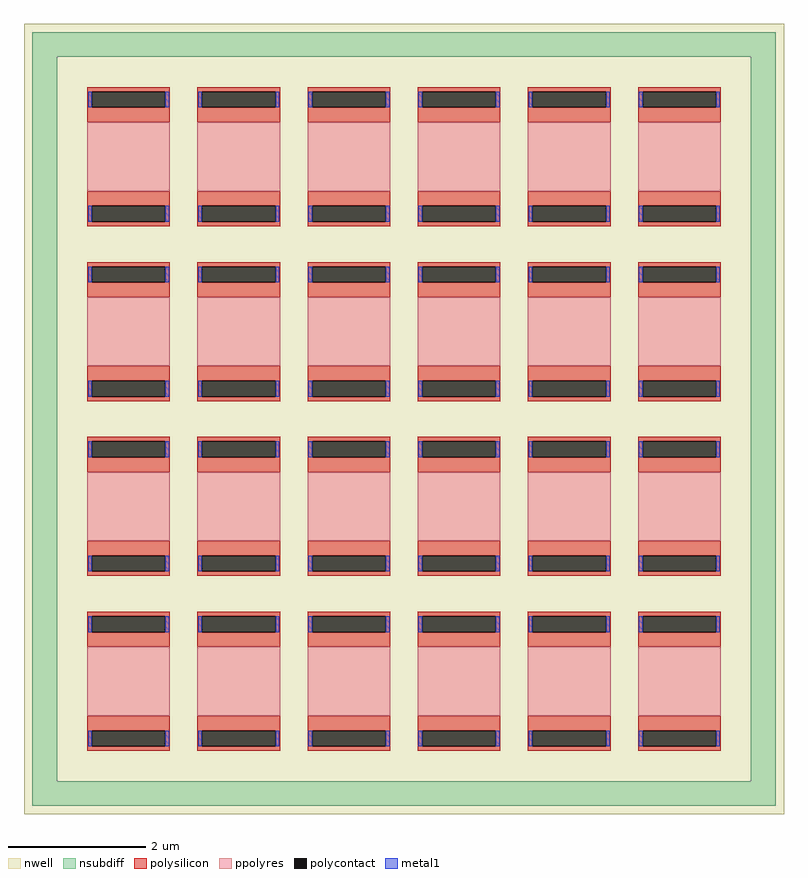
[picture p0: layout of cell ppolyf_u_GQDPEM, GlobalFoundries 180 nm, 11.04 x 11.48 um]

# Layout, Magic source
magic
tech gf180mcuC
magscale 1 10
<< nwell >>
rect -1104 -1148 1104 1148
<< nsubdiff >>
rect -1080 1052 1080 1124
rect -1080 -1052 -1008 1052
rect 1008 -1052 1080 1052
rect -1080 -1124 1080 -1052
<< polysilicon >>
rect -920 951 -680 964
rect -920 905 -907 951
rect -693 905 -680 951
rect -920 862 -680 905
rect -920 619 -680 662
rect -920 573 -907 619
rect -693 573 -680 619
rect -920 560 -680 573
rect -600 951 -360 964
rect -600 905 -587 951
rect -373 905 -360 951
rect -600 862 -360 905
rect -600 619 -360 662
rect -600 573 -587 619
rect -373 573 -360 619
rect -600 560 -360 573
rect -280 951 -40 964
rect -280 905 -267 951
rect -53 905 -40 951
rect -280 862 -40 905
rect -280 619 -40 662
rect -280 573 -267 619
rect -53 573 -40 619
rect -280 560 -40 573
rect 40 951 280 964
rect 40 905 53 951
rect 267 905 280 951
rect 40 862 280 905
rect 40 619 280 662
rect 40 573 53 619
rect 267 573 280 619
rect 40 560 280 573
rect 360 951 600 964
rect 360 905 373 951
rect 587 905 600 951
rect 360 862 600 905
rect 360 619 600 662
rect 360 573 373 619
rect 587 573 600 619
rect 360 560 600 573
rect 680 951 920 964
rect 680 905 693 951
rect 907 905 920 951
rect 680 862 920 905
rect 680 619 920 662
rect 680 573 693 619
rect 907 573 920 619
rect 680 560 920 573
rect -920 443 -680 456
rect -920 397 -907 443
rect -693 397 -680 443
rect -920 354 -680 397
rect -920 111 -680 154
rect -920 65 -907 111
rect -693 65 -680 111
rect -920 52 -680 65
rect -600 443 -360 456
rect -600 397 -587 443
rect -373 397 -360 443
rect -600 354 -360 397
rect -600 111 -360 154
rect -600 65 -587 111
rect -373 65 -360 111
rect -600 52 -360 65
rect -280 443 -40 456
rect -280 397 -267 443
rect -53 397 -40 443
rect -280 354 -40 397
rect -280 111 -40 154
rect -280 65 -267 111
rect -53 65 -40 111
rect -280 52 -40 65
rect 40 443 280 456
rect 40 397 53 443
rect 267 397 280 443
rect 40 354 280 397
rect 40 111 280 154
rect 40 65 53 111
rect 267 65 280 111
rect 40 52 280 65
rect 360 443 600 456
rect 360 397 373 443
rect 587 397 600 443
rect 360 354 600 397
rect 360 111 600 154
rect 360 65 373 111
rect 587 65 600 111
rect 360 52 600 65
rect 680 443 920 456
rect 680 397 693 443
rect 907 397 920 443
rect 680 354 920 397
rect 680 111 920 154
rect 680 65 693 111
rect 907 65 920 111
rect 680 52 920 65
rect -920 -65 -680 -52
rect -920 -111 -907 -65
rect -693 -111 -680 -65
rect -920 -154 -680 -111
rect -920 -397 -680 -354
rect -920 -443 -907 -397
rect -693 -443 -680 -397
rect -920 -456 -680 -443
rect -600 -65 -360 -52
rect -600 -111 -587 -65
rect -373 -111 -360 -65
rect -600 -154 -360 -111
rect -600 -397 -360 -354
rect -600 -443 -587 -397
rect -373 -443 -360 -397
rect -600 -456 -360 -443
rect -280 -65 -40 -52
rect -280 -111 -267 -65
rect -53 -111 -40 -65
rect -280 -154 -40 -111
rect -280 -397 -40 -354
rect -280 -443 -267 -397
rect -53 -443 -40 -397
rect -280 -456 -40 -443
rect 40 -65 280 -52
rect 40 -111 53 -65
rect 267 -111 280 -65
rect 40 -154 280 -111
rect 40 -397 280 -354
rect 40 -443 53 -397
rect 267 -443 280 -397
rect 40 -456 280 -443
rect 360 -65 600 -52
rect 360 -111 373 -65
rect 587 -111 600 -65
rect 360 -154 600 -111
rect 360 -397 600 -354
rect 360 -443 373 -397
rect 587 -443 600 -397
rect 360 -456 600 -443
rect 680 -65 920 -52
rect 680 -111 693 -65
rect 907 -111 920 -65
rect 680 -154 920 -111
rect 680 -397 920 -354
rect 680 -443 693 -397
rect 907 -443 920 -397
rect 680 -456 920 -443
rect -920 -573 -680 -560
rect -920 -619 -907 -573
rect -693 -619 -680 -573
rect -920 -662 -680 -619
rect -920 -905 -680 -862
rect -920 -951 -907 -905
rect -693 -951 -680 -905
rect -920 -964 -680 -951
rect -600 -573 -360 -560
rect -600 -619 -587 -573
rect -373 -619 -360 -573
rect -600 -662 -360 -619
rect -600 -905 -360 -862
rect -600 -951 -587 -905
rect -373 -951 -360 -905
rect -600 -964 -360 -951
rect -280 -573 -40 -560
rect -280 -619 -267 -573
rect -53 -619 -40 -573
rect -280 -662 -40 -619
rect -280 -905 -40 -862
rect -280 -951 -267 -905
rect -53 -951 -40 -905
rect -280 -964 -40 -951
rect 40 -573 280 -560
rect 40 -619 53 -573
rect 267 -619 280 -573
rect 40 -662 280 -619
rect 40 -905 280 -862
rect 40 -951 53 -905
rect 267 -951 280 -905
rect 40 -964 280 -951
rect 360 -573 600 -560
rect 360 -619 373 -573
rect 587 -619 600 -573
rect 360 -662 600 -619
rect 360 -905 600 -862
rect 360 -951 373 -905
rect 587 -951 600 -905
rect 360 -964 600 -951
rect 680 -573 920 -560
rect 680 -619 693 -573
rect 907 -619 920 -573
rect 680 -662 920 -619
rect 680 -905 920 -862
rect 680 -951 693 -905
rect 907 -951 920 -905
rect 680 -964 920 -951
<< polycontact >>
rect -907 905 -693 951
rect -907 573 -693 619
rect -587 905 -373 951
rect -587 573 -373 619
rect -267 905 -53 951
rect -267 573 -53 619
rect 53 905 267 951
rect 53 573 267 619
rect 373 905 587 951
rect 373 573 587 619
rect 693 905 907 951
rect 693 573 907 619
rect -907 397 -693 443
rect -907 65 -693 111
rect -587 397 -373 443
rect -587 65 -373 111
rect -267 397 -53 443
rect -267 65 -53 111
rect 53 397 267 443
rect 53 65 267 111
rect 373 397 587 443
rect 373 65 587 111
rect 693 397 907 443
rect 693 65 907 111
rect -907 -111 -693 -65
rect -907 -443 -693 -397
rect -587 -111 -373 -65
rect -587 -443 -373 -397
rect -267 -111 -53 -65
rect -267 -443 -53 -397
rect 53 -111 267 -65
rect 53 -443 267 -397
rect 373 -111 587 -65
rect 373 -443 587 -397
rect 693 -111 907 -65
rect 693 -443 907 -397
rect -907 -619 -693 -573
rect -907 -951 -693 -905
rect -587 -619 -373 -573
rect -587 -951 -373 -905
rect -267 -619 -53 -573
rect -267 -951 -53 -905
rect 53 -619 267 -573
rect 53 -951 267 -905
rect 373 -619 587 -573
rect 373 -951 587 -905
rect 693 -619 907 -573
rect 693 -951 907 -905
<< ppolyres >>
rect -920 662 -680 862
rect -600 662 -360 862
rect -280 662 -40 862
rect 40 662 280 862
rect 360 662 600 862
rect 680 662 920 862
rect -920 154 -680 354
rect -600 154 -360 354
rect -280 154 -40 354
rect 40 154 280 354
rect 360 154 600 354
rect 680 154 920 354
rect -920 -354 -680 -154
rect -600 -354 -360 -154
rect -280 -354 -40 -154
rect 40 -354 280 -154
rect 360 -354 600 -154
rect 680 -354 920 -154
rect -920 -862 -680 -662
rect -600 -862 -360 -662
rect -280 -862 -40 -662
rect 40 -862 280 -662
rect 360 -862 600 -662
rect 680 -862 920 -662
<< metal1 >>
rect -918 905 -907 951
rect -693 905 -682 951
rect -598 905 -587 951
rect -373 905 -362 951
rect -278 905 -267 951
rect -53 905 -42 951
rect 42 905 53 951
rect 267 905 278 951
rect 362 905 373 951
rect 587 905 598 951
rect 682 905 693 951
rect 907 905 918 951
rect -918 573 -907 619
rect -693 573 -682 619
rect -598 573 -587 619
rect -373 573 -362 619
rect -278 573 -267 619
rect -53 573 -42 619
rect 42 573 53 619
rect 267 573 278 619
rect 362 573 373 619
rect 587 573 598 619
rect 682 573 693 619
rect 907 573 918 619
rect -918 397 -907 443
rect -693 397 -682 443
rect -598 397 -587 443
rect -373 397 -362 443
rect -278 397 -267 443
rect -53 397 -42 443
rect 42 397 53 443
rect 267 397 278 443
rect 362 397 373 443
rect 587 397 598 443
rect 682 397 693 443
rect 907 397 918 443
rect -918 65 -907 111
rect -693 65 -682 111
rect -598 65 -587 111
rect -373 65 -362 111
rect -278 65 -267 111
rect -53 65 -42 111
rect 42 65 53 111
rect 267 65 278 111
rect 362 65 373 111
rect 587 65 598 111
rect 682 65 693 111
rect 907 65 918 111
rect -918 -111 -907 -65
rect -693 -111 -682 -65
rect -598 -111 -587 -65
rect -373 -111 -362 -65
rect -278 -111 -267 -65
rect -53 -111 -42 -65
rect 42 -111 53 -65
rect 267 -111 278 -65
rect 362 -111 373 -65
rect 587 -111 598 -65
rect 682 -111 693 -65
rect 907 -111 918 -65
rect -918 -443 -907 -397
rect -693 -443 -682 -397
rect -598 -443 -587 -397
rect -373 -443 -362 -397
rect -278 -443 -267 -397
rect -53 -443 -42 -397
rect 42 -443 53 -397
rect 267 -443 278 -397
rect 362 -443 373 -397
rect 587 -443 598 -397
rect 682 -443 693 -397
rect 907 -443 918 -397
rect -918 -619 -907 -573
rect -693 -619 -682 -573
rect -598 -619 -587 -573
rect -373 -619 -362 -573
rect -278 -619 -267 -573
rect -53 -619 -42 -573
rect 42 -619 53 -573
rect 267 -619 278 -573
rect 362 -619 373 -573
rect 587 -619 598 -573
rect 682 -619 693 -573
rect 907 -619 918 -573
rect -918 -951 -907 -905
rect -693 -951 -682 -905
rect -598 -951 -587 -905
rect -373 -951 -362 -905
rect -278 -951 -267 -905
rect -53 -951 -42 -905
rect 42 -951 53 -905
rect 267 -951 278 -905
rect 362 -951 373 -905
rect 587 -951 598 -905
rect 682 -951 693 -905
rect 907 -951 918 -905
<< properties >>
string FIXED_BBOX -1044 -1088 1044 1088
string gencell ppolyf_u
string library gf180mcu
string parameters w 1.2 l 1.0 m 4 nx 6 wmin 0.80 lmin 1.00 rho 315 val 278.761 dummy 0 dw 0.07 term 0.0 sterm 0.0 caplen 0.4 snake 0 glc 0 grc 0 gtc 0 gbc 0 roverlap 0 endcov 100 full_metal 0
<< end >>
